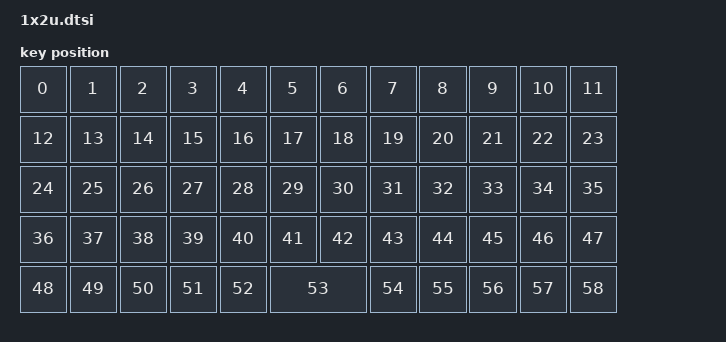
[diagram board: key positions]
#include <physical_layouts.dtsi>

/ {
    layout_ortho_5x12_1x2u: layout_ortho_5x12_1x2u {
        compatible = "zmk,physical-layout";
        display-name = "50% 1x2U Space";

        keys  //                     w   h    x    y     rot    rx    ry
            = <&key_physical_attrs 100 100    0    0       0     0     0>
            , <&key_physical_attrs 100 100  100    0       0     0     0>
            , <&key_physical_attrs 100 100  200    0       0     0     0>
            , <&key_physical_attrs 100 100  300    0       0     0     0>
            , <&key_physical_attrs 100 100  400    0       0     0     0>
            , <&key_physical_attrs 100 100  500    0       0     0     0>
            , <&key_physical_attrs 100 100  600    0       0     0     0>
            , <&key_physical_attrs 100 100  700    0       0     0     0>
            , <&key_physical_attrs 100 100  800    0       0     0     0>
            , <&key_physical_attrs 100 100  900    0       0     0     0>
            , <&key_physical_attrs 100 100 1000    0       0     0     0>
            , <&key_physical_attrs 100 100 1100    0       0     0     0>
            , <&key_physical_attrs 100 100    0  100       0     0     0>
            , <&key_physical_attrs 100 100  100  100       0     0     0>
            , <&key_physical_attrs 100 100  200  100       0     0     0>
            , <&key_physical_attrs 100 100  300  100       0     0     0>
            , <&key_physical_attrs 100 100  400  100       0     0     0>
            , <&key_physical_attrs 100 100  500  100       0     0     0>
            , <&key_physical_attrs 100 100  600  100       0     0     0>
            , <&key_physical_attrs 100 100  700  100       0     0     0>
            , <&key_physical_attrs 100 100  800  100       0     0     0>
            , <&key_physical_attrs 100 100  900  100       0     0     0>
            , <&key_physical_attrs 100 100 1000  100       0     0     0>
            , <&key_physical_attrs 100 100 1100  100       0     0     0>
            , <&key_physical_attrs 100 100    0  200       0     0     0>
            , <&key_physical_attrs 100 100  100  200       0     0     0>
            , <&key_physical_attrs 100 100  200  200       0     0     0>
            , <&key_physical_attrs 100 100  300  200       0     0     0>
            , <&key_physical_attrs 100 100  400  200       0     0     0>
            , <&key_physical_attrs 100 100  500  200       0     0     0>
            , <&key_physical_attrs 100 100  600  200       0     0     0>
            , <&key_physical_attrs 100 100  700  200       0     0     0>
            , <&key_physical_attrs 100 100  800  200       0     0     0>
            , <&key_physical_attrs 100 100  900  200       0     0     0>
            , <&key_physical_attrs 100 100 1000  200       0     0     0>
            , <&key_physical_attrs 100 100 1100  200       0     0     0>
            , <&key_physical_attrs 100 100    0  300       0     0     0>
            , <&key_physical_attrs 100 100  100  300       0     0     0>
            , <&key_physical_attrs 100 100  200  300       0     0     0>
            , <&key_physical_attrs 100 100  300  300       0     0     0>
            , <&key_physical_attrs 100 100  400  300       0     0     0>
            , <&key_physical_attrs 100 100  500  300       0     0     0>
            , <&key_physical_attrs 100 100  600  300       0     0     0>
            , <&key_physical_attrs 100 100  700  300       0     0     0>
            , <&key_physical_attrs 100 100  800  300       0     0     0>
            , <&key_physical_attrs 100 100  900  300       0     0     0>
            , <&key_physical_attrs 100 100 1000  300       0     0     0>
            , <&key_physical_attrs 100 100 1100  300       0     0     0>
            , <&key_physical_attrs 100 100    0  400       0     0     0>
            , <&key_physical_attrs 100 100  100  400       0     0     0>
            , <&key_physical_attrs 100 100  200  400       0     0     0>
            , <&key_physical_attrs 100 100  300  400       0     0     0>
            , <&key_physical_attrs 100 100  400  400       0     0     0>
            , <&key_physical_attrs 200 100  500  400       0     0     0>
            , <&key_physical_attrs 100 100  700  400       0     0     0>
            , <&key_physical_attrs 100 100  800  400       0     0     0>
            , <&key_physical_attrs 100 100  900  400       0     0     0>
            , <&key_physical_attrs 100 100 1000  400       0     0     0>
            , <&key_physical_attrs 100 100 1100  400       0     0     0>
            ;
    };
};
